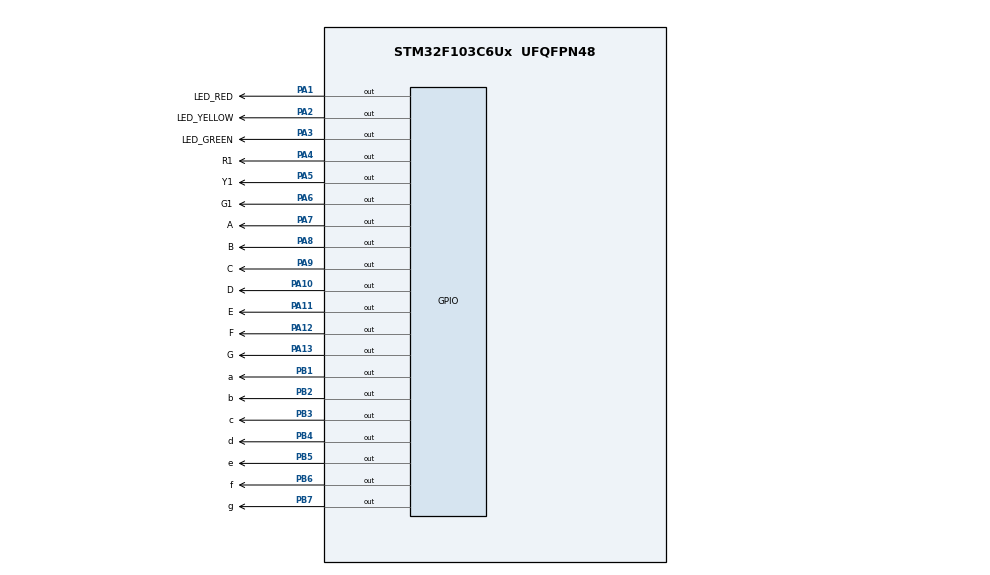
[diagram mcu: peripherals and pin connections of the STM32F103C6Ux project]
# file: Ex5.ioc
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Mcu.Family=STM32F1
Mcu.Name=STM32F103C6Ux
Mcu.Package=UFQFPN48
NVIC.PriorityGroup=NVIC_PRIORITYGROUP_4
PA1.GPIO_Label=LED_RED
PA1.Signal=GPIO_Output
PA10.GPIO_Label=D
PA10.Signal=GPIO_Output
PA11.GPIO_Label=E
PA11.Signal=GPIO_Output
PA12.GPIO_Label=F
PA12.Signal=GPIO_Output
PA13.GPIO_Label=G
PA13.Signal=GPIO_Output
PA2.GPIO_Label=LED_YELLOW
PA2.Signal=GPIO_Output
PA3.GPIO_Label=LED_GREEN
PA3.Signal=GPIO_Output
PA4.GPIO_Label=R1
PA4.Signal=GPIO_Output
PA5.GPIO_Label=Y1
PA5.Signal=GPIO_Output
PA6.GPIO_Label=G1
PA6.Signal=GPIO_Output
PA7.GPIO_Label=A
PA7.Signal=GPIO_Output
PA8.GPIO_Label=B
PA8.Signal=GPIO_Output
PA9.GPIO_Label=C
PA9.Signal=GPIO_Output
PB1.GPIO_Label=a
PB1.Signal=GPIO_Output
PB2.GPIO_Label=b
PB2.Signal=GPIO_Output
PB3.GPIO_Label=c
PB3.Signal=GPIO_Output
PB4.GPIO_Label=d
PB4.Signal=GPIO_Output
PB5.GPIO_Label=e
PB5.Signal=GPIO_Output
PB6.GPIO_Label=f
PB6.Signal=GPIO_Output
PB7.GPIO_Label=g
PB7.Signal=GPIO_Output
ProjectManager.HeapSize=0x200
ProjectManager.StackSize=0x400
ProjectManager.TargetToolchain=STM32CubeIDE
RCC.APB1Freq_Value=8000000
RCC.APB2Freq_Value=8000000
VP_SYS_VS_ND.Mode=No_Debug
board=custom

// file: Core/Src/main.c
/* USER CODE BEGIN Header */
/**
  ******************************************************************************
  * @file           : main.c
  * @brief          : Main program body
  ******************************************************************************
  * @attention
  *
  * <h2><center>&copy; Copyright (c) 2022 STMicroelectronics.
  * All rights reserved.</center></h2>
  *
  * This software component is licensed by ST under BSD 3-Clause license,
  * the "License"; You may not use this file except in compliance with the
  * License. You may obtain a copy of the License at:
  *                        opensource.org/licenses/BSD-3-Clause
  *
  ******************************************************************************
  */
/* USER CODE END Header */
#include "main.h"

void SystemClock_Config(void);
static void MX_GPIO_Init(void);

void display7SEG1(int num)
{
	int seg[10]={0xC0, 0xF9, 0xA4, 0xB0, 0x99, 0x92, 0x82, 0xF8, 0x80, 0x90};
	HAL_GPIO_WritePin(GPIOA, A_Pin,((seg[num]>>0)&0x01));
	HAL_GPIO_WritePin(GPIOA, B_Pin,((seg[num]>>1)&0x01));
	HAL_GPIO_WritePin(GPIOA, C_Pin,((seg[num]>>2)&0x01));
	HAL_GPIO_WritePin(GPIOA, D_Pin,((seg[num]>>3)&0x01));
	HAL_GPIO_WritePin(GPIOA, E_Pin,((seg[num]>>4)&0x01));
	HAL_GPIO_WritePin(GPIOA, F_Pin,((seg[num]>>5)&0x01));
	HAL_GPIO_WritePin(GPIOA, G_Pin,((seg[num]>>6)&0x01));
}
int main(void)
{

  /* MCU Configuration--------------------------------------------------------*/

  /* Reset of all peripherals, Initializes the Flash interface and the Systick. */
  HAL_Init();

  /* Configure the system clock */
  SystemClock_Config();

  /* Initialize all configured peripherals */
  MX_GPIO_Init();
  /* USER CODE BEGIN 2 */
  int count=1000;
  int countseg1=500;
  int cal1= countseg1%100;
  /* USER CODE END 2 */

  /* Infinite loop */
  /* USER CODE BEGIN WHILE */
  while (1)
  {
	  if(count>500)
	  {
		  if(cal1==0) display7SEG1(countseg1/100);
		  if(countseg1==1) countseg1=301;
		  HAL_GPIO_WritePin(LED_RED_GPIO_Port, LED_RED_Pin, RESET);
		  HAL_GPIO_WritePin(LED_GREEN_GPIO_Port, LED_GREEN_Pin, SET);
		  HAL_GPIO_WritePin(LED_YELLOW_GPIO_Port, LED_YELLOW_Pin, SET);
		  HAL_GPIO_WritePin(G1_GPIO_Port, G1_Pin, RESET);
		  HAL_GPIO_WritePin(Y1_GPIO_Port, Y1_Pin, SET);
		  HAL_GPIO_WritePin(R1_GPIO_Port, R1_Pin, SET);
		  if(count<=700)
		  {
			  HAL_GPIO_WritePin(G1_GPIO_Port, G1_Pin, SET);
			  HAL_GPIO_WritePin(Y1_GPIO_Port, Y1_Pin, RESET);
			  HAL_GPIO_WritePin(R1_GPIO_Port, R1_Pin, SET);
		  }
	  }
	  if(count<=500 && count>200)
	  {
		  if(cal1==0) display7SEG1(countseg1/100);
		  if(countseg1==1) countseg1=201;
		  HAL_GPIO_WritePin(G1_GPIO_Port, G1_Pin, SET);
		  HAL_GPIO_WritePin(Y1_GPIO_Port, Y1_Pin, SET);
		  HAL_GPIO_WritePin(R1_GPIO_Port, R1_Pin, RESET);

		  HAL_GPIO_WritePin(LED_RED_GPIO_Port, LED_RED_Pin, SET);
		  HAL_GPIO_WritePin(LED_GREEN_GPIO_Port, LED_GREEN_Pin, RESET);
		  HAL_GPIO_WritePin(LED_YELLOW_GPIO_Port, LED_YELLOW_Pin, SET);
	  }

	  if(count<=200)
	  {
		  if(cal1==0) display7SEG1(countseg1/100);
		  if(countseg1==1) countseg1=501;
		  HAL_GPIO_WritePin(LED_RED_GPIO_Port, LED_RED_Pin, SET);
		  HAL_GPIO_WritePin(LED_GREEN_GPIO_Port, LED_GREEN_Pin, SET);
		  HAL_GPIO_WritePin(LED_YELLOW_GPIO_Port, LED_YELLOW_Pin, RESET);
		  if(count==0)
		  {
			  count=1001;
		  }
	  }
	  countseg1--;
	  count--;
	  HAL_Delay(10);
    /* USER CODE END WHILE */

  }
}

void SystemClock_Config(void)
{
  RCC_OscInitTypeDef RCC_OscInitStruct = {0};
  RCC_ClkInitTypeDef RCC_ClkInitStruct = {0};

  /** Initializes the RCC Oscillators according to the specified parameters
  * in the RCC_OscInitTypeDef structure.
  */
  RCC_OscInitStruct.OscillatorType = RCC_OSCILLATORTYPE_HSI;
  RCC_OscInitStruct.HSIState = RCC_HSI_ON;
  RCC_OscInitStruct.HSICalibrationValue = RCC_HSICALIBRATION_DEFAULT;
  RCC_OscInitStruct.PLL.PLLState = RCC_PLL_NONE;
  if (HAL_RCC_OscConfig(&RCC_OscInitStruct) != HAL_OK)
  {
    Error_Handler();
  }
  /** Initializes the CPU, AHB and APB buses clocks
  */
  RCC_ClkInitStruct.ClockType = RCC_CLOCKTYPE_HCLK|RCC_CLOCKTYPE_SYSCLK
                              |RCC_CLOCKTYPE_PCLK1|RCC_CLOCKTYPE_PCLK2;
  RCC_ClkInitStruct.SYSCLKSource = RCC_SYSCLKSOURCE_HSI;
  RCC_ClkInitStruct.AHBCLKDivider = RCC_SYSCLK_DIV1;
  RCC_ClkInitStruct.APB1CLKDivider = RCC_HCLK_DIV1;
  RCC_ClkInitStruct.APB2CLKDivider = RCC_HCLK_DIV1;

  if (HAL_RCC_ClockConfig(&RCC_ClkInitStruct, FLASH_LATENCY_0) != HAL_OK)
  {
    Error_Handler();
  }
}

static void MX_GPIO_Init(void)
{
  GPIO_InitTypeDef GPIO_InitStruct = {0};

  /* GPIO Ports Clock Enable */
  __HAL_RCC_GPIOA_CLK_ENABLE();
  __HAL_RCC_GPIOB_CLK_ENABLE();

  /*Configure GPIO pin Output Level */
  HAL_GPIO_WritePin(GPIOA, LED_RED_Pin|LED_YELLOW_Pin|LED_GREEN_Pin|R1_Pin
                          |Y1_Pin|G1_Pin|A_Pin|B_Pin
                          |C_Pin|D_Pin|E_Pin|F_Pin
                          |G_Pin, GPIO_PIN_RESET);

  /*Configure GPIO pin Output Level */
  HAL_GPIO_WritePin(GPIOB, a_Pin|b_Pin|c_Pin|d_Pin
                          |e_Pin|f_Pin|g_Pin, GPIO_PIN_RESET);

  /*Configure GPIO pins : LED_RED_Pin LED_YELLOW_Pin LED_GREEN_Pin R1_Pin
                           Y1_Pin G1_Pin A_Pin B_Pin
                           C_Pin D_Pin E_Pin F_Pin
                           G_Pin */
  GPIO_InitStruct.Pin = LED_RED_Pin|LED_YELLOW_Pin|LED_GREEN_Pin|R1_Pin
                          |Y1_Pin|G1_Pin|A_Pin|B_Pin
                          |C_Pin|D_Pin|E_Pin|F_Pin
                          |G_Pin;
  GPIO_InitStruct.Mode = GPIO_MODE_OUTPUT_PP;
  GPIO_InitStruct.Pull = GPIO_NOPULL;
  GPIO_InitStruct.Speed = GPIO_SPEED_FREQ_LOW;
  HAL_GPIO_Init(GPIOA, &GPIO_InitStruct);

  /*Configure GPIO pins : a_Pin b_Pin c_Pin d_Pin
                           e_Pin f_Pin g_Pin */
  GPIO_InitStruct.Pin = a_Pin|b_Pin|c_Pin|d_Pin
                          |e_Pin|f_Pin|g_Pin;
  GPIO_InitStruct.Mode = GPIO_MODE_OUTPUT_PP;
  GPIO_InitStruct.Pull = GPIO_NOPULL;
  GPIO_InitStruct.Speed = GPIO_SPEED_FREQ_LOW;
  HAL_GPIO_Init(GPIOB, &GPIO_InitStruct);

}

void Error_Handler(void)
{
  __disable_irq();
  while (1)
  {
  }
}

/************************ (C) COPYRIGHT STMicroelectronics *****END OF FILE****/
